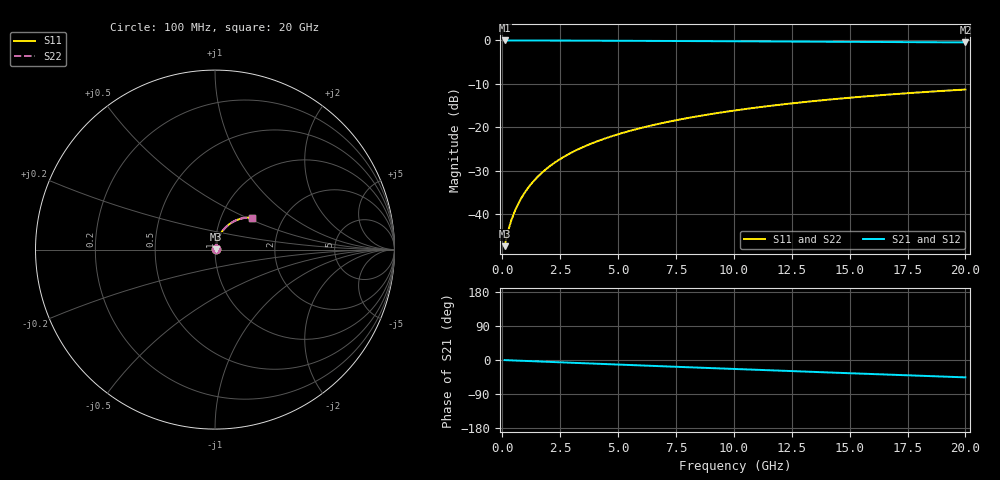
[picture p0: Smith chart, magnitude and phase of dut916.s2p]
! Touchstone file exported from HFSS 2026.1.0
!  File:  C:/ffzhzh/LocalFiles/Ansys_Project_Files/temp_train_BSMRDL_916_1783171676_22436.aedt
!  Generated:  09:29:09 PM Jul  4, 2026
!  Design:  BSMRDL
!  Project:  temp_train_BSMRDL_916_1783171676_22436
! Variables:
!  h_bsmrdl = 4.44um
!  h_ox = 20um
!  h_rdl = 5um
!  h_sub = 80um
!  h_tmrdl = 5um
!  h_tsv = 80um
!  h_via = 3um
!  l_bsmrdl = 774.28um
!  l_sub = 1174.28um
!  l_tmrdl = 200um
!  m_sub = 200um
!  pitch = 29.1um
!  r_tsv = 6um
!  s_tmrdl = 10um
!  w_bsmrdl = 17.13um
!  w_sub = 500um
!  w_tmrdl = 12um
!  x_tsv_center1 = 206um
!  x_tsv_center2 = 997.41um
!  x_tsv_center3 = 1209.41um
!  x_tsv_center4 = 2000.82um
!  x_tsv_center5 = 2212.82um
!  x_tsv_center6 = 3004.23um
# GHz S MA R 50.000000
! Terminal data exported
! Port[1] = BSM_RDL1_1_T1
! Port[2] = BSM_RDL1_1_T2
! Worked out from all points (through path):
!   200 points, 100 MHz to 20 GHz, reference 50 ohm
!   highest |S21| = -0.03 dB at 100 MHz (marker M1); lowest = -0.5 dB at 20 GHz (marker M2)
!   group delay of S21, straight-line fit = 6.35 ps
!   lowest |S11| = -47.4 dB at 100 MHz (marker M3), VSWR 1.01, Z = 50.4 + j0.206 ohm
!   |S11| at or under -10 dB: start of sweep to end of sweep
!   |S22| runs from -47.4 to -11.3 dB; largest |S21 - S12| = 2.1e-15
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0.1  0.004284 28.5  0.9962 -0.3  0.9962 -0.3  0.004284 28.5
! Gamma 0 0 0 0
! Port Impedance 50 0 50 0
0.2  0.00563 44.3  0.996 -0.5  0.996 -0.5  0.00563 44.3
0.3  0.007125 52.9  0.9958 -0.8  0.9958 -0.8  0.007125 52.9
0.4  0.008645 58.5  0.9956 -1.0  0.9956 -1.0  0.008645 58.5
0.5  0.01019 62.4  0.9954 -1.3  0.9954 -1.3  0.01019 62.4
0.6  0.01175 65.3  0.9953 -1.5  0.9953 -1.5  0.01175 65.3
0.8  0.01494 69.4  0.9951 -2.0  0.9951 -2.0  0.01494 69.4
1  0.0182 71.9  0.9949 -2.5  0.9949 -2.5  0.0182 71.9
1.2  0.02149 73.5  0.9948 -3.0  0.9948 -3.0  0.02149 73.5
1.4  0.02481 74.6  0.9946 -3.4  0.9946 -3.4  0.02481 74.6
1.7  0.0298 75.5  0.9942 -4.2  0.9942 -4.2  0.0298 75.5
2.2  0.03811 75.9  0.9935 -5.4  0.9935 -5.4  0.03811 75.9
2.8  0.048 75.6  0.9926 -6.8  0.9926 -6.8  0.048 75.6
3.5  0.05936 74.7  0.9913 -8.5  0.9913 -8.5  0.05936 74.7
4.2  0.07052 73.6  0.9898 -10.2  0.9898 -10.2  0.07052 73.6
5  0.08302 72.1  0.988 -12.1  0.988 -12.1  0.08302 72.0
6.8  0.1102 68.4  0.9837 -16.3  0.9837 -16.3  0.1102 68.4
8.3  0.1318 65.3  0.9798 -19.8  0.9798 -19.8  0.1319 65.3
10.1  0.1568 61.5  0.9749 -23.9  0.9749 -23.9  0.1568 61.5
13.4  0.1994 54.6  0.9654 -31.3  0.9654 -31.3  0.1994 54.6
16.7  0.2378 47.7  0.9556 -38.7  0.9556 -38.7  0.2379 47.6
20  0.2716 40.9  0.9458 -45.8  0.9458 -45.8  0.2716 40.8
